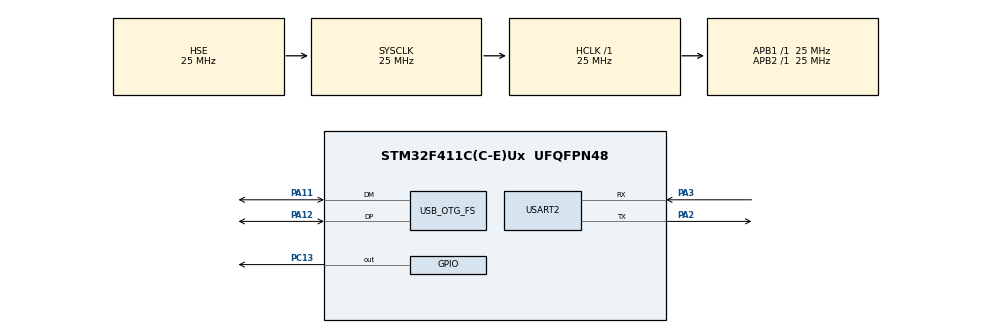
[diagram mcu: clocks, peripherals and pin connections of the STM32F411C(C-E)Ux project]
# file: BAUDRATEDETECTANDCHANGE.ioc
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Mcu.Family=STM32F4
Mcu.Name=STM32F411C(C-E)Ux
Mcu.Package=UFQFPN48
NVIC.OTG_FS_IRQn=true\:0\:0\:false\:false\:true\:false\:true\:true
NVIC.PriorityGroup=NVIC_PRIORITYGROUP_4
PA11.Mode=Device_Only
PA11.Signal=USB_OTG_FS_DM
PA12.Mode=Device_Only
PA12.Signal=USB_OTG_FS_DP
PA13.Mode=Serial_Wire
PA13.Signal=SYS_JTMS-SWDIO
PA14.Mode=Serial_Wire
PA14.Signal=SYS_JTCK-SWCLK
PA2.Mode=Asynchronous
PA2.Signal=USART2_TX
PA3.Mode=Asynchronous
PA3.Signal=USART2_RX
PC13-ANTI_TAMP.Signal=GPIO_Output
PH0\ -\ OSC_IN.Mode=HSE-External-Oscillator
PH0\ -\ OSC_IN.Signal=RCC_OSC_IN
PH1\ -\ OSC_OUT.Mode=HSE-External-Oscillator
PH1\ -\ OSC_OUT.Signal=RCC_OSC_OUT
ProjectManager.HeapSize=0x200
ProjectManager.StackSize=0x400
ProjectManager.TargetToolchain=STM32CubeIDE
RCC.48MHZClocksFreq_Value=48000000
RCC.AHBFreq_Value=25000000
RCC.APB1Freq_Value=25000000
RCC.APB1TimFreq_Value=25000000
RCC.APB2Freq_Value=25000000
RCC.APB2TimFreq_Value=25000000
RCC.CortexFreq_Value=25000000
RCC.HCLKFreq_Value=25000000
RCC.HSE_VALUE=25000000
RCC.HSI_VALUE=16000000
RCC.LSE_VALUE=32768
RCC.PLLM=15
RCC.PLLN=144
RCC.PLLQ=5
RCC.SYSCLKFreq_VALUE=25000000
RCC.SYSCLKSource=RCC_SYSCLKSOURCE_HSE
RCC.VCOOutputFreq_Value=240000000
USART2.VirtualMode=VM_ASYNC
USB_DEVICE.CLASS_NAME_FS=CDC
USB_DEVICE.VirtualMode=Cdc
USB_DEVICE.VirtualModeFS=Cdc_FS
USB_OTG_FS.VirtualMode=Device_Only
VP_USB_DEVICE_VS_USB_DEVICE_CDC_FS.Mode=CDC_FS
board=custom

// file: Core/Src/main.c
/* USER CODE BEGIN Header */
/**
 ******************************************************************************
 * @file           : main.c
 * @brief          : Main program body
 ******************************************************************************
 * @attention
 *
 * Copyright (c) 2024 STMicroelectronics.
 * All rights reserved.
 *
 * This software is licensed under terms that can be found in the LICENSE file
 * in the root directory of this software component.
 * If no LICENSE file comes with this software, it is provided AS-IS.
 *
 ******************************************************************************
 */
/* USER CODE END Header */
#include "main.h"
#include "usb_device.h"

/* USER CODE BEGIN PD */
#define DESIRED_BAUDRATE 115200
// Mude aqui a diretiva DESIRED_BAUDRATE
// para a velocidade desejada da UART do
// módulo BLE, compile e grave o firmware
// no STM32

#define RESPONSE_BUFFER_SIZE 100
#define PRINT_BUFFER_SIZE 500
/* USER CODE END PD */

UART_HandleTypeDef huart2;

/* USER CODE BEGIN PV */
const uint16_t timeOut = 200;
uint8_t testAssign;
uint32_t testBR;
uint32_t baudRate[] = {1200, 2400, 4800, 9600, 19200, 38400, 57600, 115200};
char testString[] = "AT\r\n"; // Para imprimir os comandos
							  // aceitos pelo módulo, envie
							  // a string "AT+HELP\r\n"
char baudRateString[10];
char bufferUSB[100];
char rxBuffer[RESPONSE_BUFFER_SIZE];
/* USER CODE END PV */

void SystemClock_Config(void);
static void MX_GPIO_Init(void);
static void MX_USART2_UART_Init(void);
/* USER CODE BEGIN PFP */
uint32_t detectBaudRate(const char *command, const uint32_t timeout);
uint8_t testBaudRate(uint32_t);
void changeBaudRate();
/* USER CODE END PFP */

int main(void)
{

  /* MCU Configuration--------------------------------------------------------*/

  /* Reset of all peripherals, Initializes the Flash interface and the Systick. */
  HAL_Init();

  /* Configure the system clock */
  SystemClock_Config();

  /* Initialize all configured peripherals */
  MX_GPIO_Init();
  MX_USB_DEVICE_Init();
  MX_USART2_UART_Init();
  /* USER CODE BEGIN 2 */
	HAL_Delay(2000);

	testBR = detectBaudRate(testString, timeOut);
	HAL_Delay(250);
	testAssign = testBaudRate(testBR);
	HAL_Delay(250);

	if (testAssign) {
		sprintf(bufferUSB, "Desired baudrate already assigned.\r\n");
		CDC_Transmit_FS(bufferUSB, strlen(bufferUSB));
	}
	else {
		sprintf(bufferUSB, "Changing now to the desired baudrate...\r\n");
		CDC_Transmit_FS(bufferUSB, strlen(bufferUSB));
		changeBaudRate();
		HAL_Delay(250);
		sprintf(bufferUSB, "Testing again...\r\n");
		CDC_Transmit_FS(bufferUSB, strlen(bufferUSB));
		detectBaudRate(testString, timeOut);
	}

  /* USER CODE END 2 */

  /* Infinite loop */
	while (1) {

	}
}

void SystemClock_Config(void)
{
  RCC_OscInitTypeDef RCC_OscInitStruct = {0};
  RCC_ClkInitTypeDef RCC_ClkInitStruct = {0};

  /** Configure the main internal regulator output voltage
  */
  __HAL_RCC_PWR_CLK_ENABLE();
  __HAL_PWR_VOLTAGESCALING_CONFIG(PWR_REGULATOR_VOLTAGE_SCALE1);

  /** Initializes the RCC Oscillators according to the specified parameters
  * in the RCC_OscInitTypeDef structure.
  */
  RCC_OscInitStruct.OscillatorType = RCC_OSCILLATORTYPE_HSE;
  RCC_OscInitStruct.HSEState = RCC_HSE_ON;
  RCC_OscInitStruct.PLL.PLLState = RCC_PLL_ON;
  RCC_OscInitStruct.PLL.PLLSource = RCC_PLLSOURCE_HSE;
  RCC_OscInitStruct.PLL.PLLM = 15;
  RCC_OscInitStruct.PLL.PLLN = 144;
  RCC_OscInitStruct.PLL.PLLP = RCC_PLLP_DIV2;
  RCC_OscInitStruct.PLL.PLLQ = 5;
  if (HAL_RCC_OscConfig(&RCC_OscInitStruct) != HAL_OK)
  {
    Error_Handler();
  }

  /** Initializes the CPU, AHB and APB buses clocks
  */
  RCC_ClkInitStruct.ClockType = RCC_CLOCKTYPE_HCLK|RCC_CLOCKTYPE_SYSCLK
                              |RCC_CLOCKTYPE_PCLK1|RCC_CLOCKTYPE_PCLK2;
  RCC_ClkInitStruct.SYSCLKSource = RCC_SYSCLKSOURCE_HSE;
  RCC_ClkInitStruct.AHBCLKDivider = RCC_SYSCLK_DIV1;
  RCC_ClkInitStruct.APB1CLKDivider = RCC_HCLK_DIV1;
  RCC_ClkInitStruct.APB2CLKDivider = RCC_HCLK_DIV1;

  if (HAL_RCC_ClockConfig(&RCC_ClkInitStruct, FLASH_LATENCY_0) != HAL_OK)
  {
    Error_Handler();
  }
}

static void MX_USART2_UART_Init(void)
{

  huart2.Instance = USART2;
  huart2.Init.BaudRate = 115200;
  huart2.Init.WordLength = UART_WORDLENGTH_8B;
  huart2.Init.StopBits = UART_STOPBITS_1;
  huart2.Init.Parity = UART_PARITY_NONE;
  huart2.Init.Mode = UART_MODE_TX_RX;
  huart2.Init.HwFlowCtl = UART_HWCONTROL_NONE;
  huart2.Init.OverSampling = UART_OVERSAMPLING_16;
  if (HAL_UART_Init(&huart2) != HAL_OK)
  {
    Error_Handler();
  }

}

static void MX_GPIO_Init(void)
{
  GPIO_InitTypeDef GPIO_InitStruct = {0};

  /* GPIO Ports Clock Enable */
  __HAL_RCC_GPIOC_CLK_ENABLE();
  __HAL_RCC_GPIOH_CLK_ENABLE();
  __HAL_RCC_GPIOA_CLK_ENABLE();

  /*Configure GPIO pin Output Level */
  HAL_GPIO_WritePin(GPIOC, GPIO_PIN_13, GPIO_PIN_RESET);

  /*Configure GPIO pin : PC13 */
  GPIO_InitStruct.Pin = GPIO_PIN_13;
  GPIO_InitStruct.Mode = GPIO_MODE_OUTPUT_PP;
  GPIO_InitStruct.Pull = GPIO_NOPULL;
  GPIO_InitStruct.Speed = GPIO_SPEED_FREQ_LOW;
  HAL_GPIO_Init(GPIOC, &GPIO_InitStruct);

}

/* USER CODE BEGIN 4 */
// Function to send an AT command and receive the response
uint32_t detectBaudRate(const char *command, const uint32_t timeOut) {
	uint32_t br;
	char buffer[PRINT_BUFFER_SIZE];
	for (int i = 0; i < 8; i++) {
		br = baudRate[i];
		huart2.Init.BaudRate = baudRate[i];
		HAL_UART_Init(&huart2);
    	memset(rxBuffer, 0, RESPONSE_BUFFER_SIZE);
    	HAL_UART_Transmit(&huart2, (uint8_t *)command, strlen(command), timeOut);
    	HAL_UART_Receive(&huart2, (uint8_t *)rxBuffer, RESPONSE_BUFFER_SIZE, timeOut);
        if (strstr(rxBuffer, "OK") != NULL) {
            snprintf(buffer, PRINT_BUFFER_SIZE, "Baudrate: %ld - Response: %s\r\n", baudRate[i], rxBuffer);
            CDC_Transmit_FS((uint8_t*)buffer, strlen(buffer));
            return br;
        }
        else {
            char buffer[PRINT_BUFFER_SIZE];
            snprintf(buffer, PRINT_BUFFER_SIZE, "Baudrate: %ld - No response\r\n", baudRate[i]);
            CDC_Transmit_FS((uint8_t*)buffer, strlen(buffer));
        }
    }
	return br;
}

uint8_t testBaudRate(uint32_t bRate) {
	uint8_t r;
	if (bRate != DESIRED_BAUDRATE) {
		sprintf(bufferUSB, "Desired Baudrate: %lu\r\nCurrent Baudrate: %lu\r\n", DESIRED_BAUDRATE, bRate);
		CDC_Transmit_FS(bufferUSB, strlen(bufferUSB));
		r = 0;
	}
	else {
		r = 1;
	}
	return r;
}

void changeBaudRate() {
	switch (DESIRED_BAUDRATE) {
		case 1200:
			sprintf(baudRateString, "AT+BAUD1\r\n");
			break;
		case 2400:
			sprintf(baudRateString, "AT+BAUD2\r\n");
			break;
		case 4800:
			sprintf(baudRateString, "AT+BAUD3\r\n");
			break;
		case 9600:
			sprintf(baudRateString, "AT+BAUD4\r\n");
			break;
		case 19200:
			sprintf(baudRateString, "AT+BAUD5\r\n");
			break;
		case 38400:
			sprintf(baudRateString, "AT+BAUD6\r\n");
			break;
		case 57600:
			sprintf(baudRateString, "AT+BAUD7\r\n");
			break;
		case 115200:
			sprintf(baudRateString, "AT+BAUD8\r\n");
			break;
		default:
			sprintf(baudRateString, "AT+BAUD4\r\n");
	}
	HAL_UART_Transmit(&huart2, (uint8_t*) baudRateString, strlen(baudRateString), timeOut);
	huart2.Init.BaudRate = DESIRED_BAUDRATE;
	HAL_UART_Init(&huart2);
}

/* USER CODE END 4 */

void Error_Handler(void)
{
	__disable_irq();
	while (1) {
	}
}
